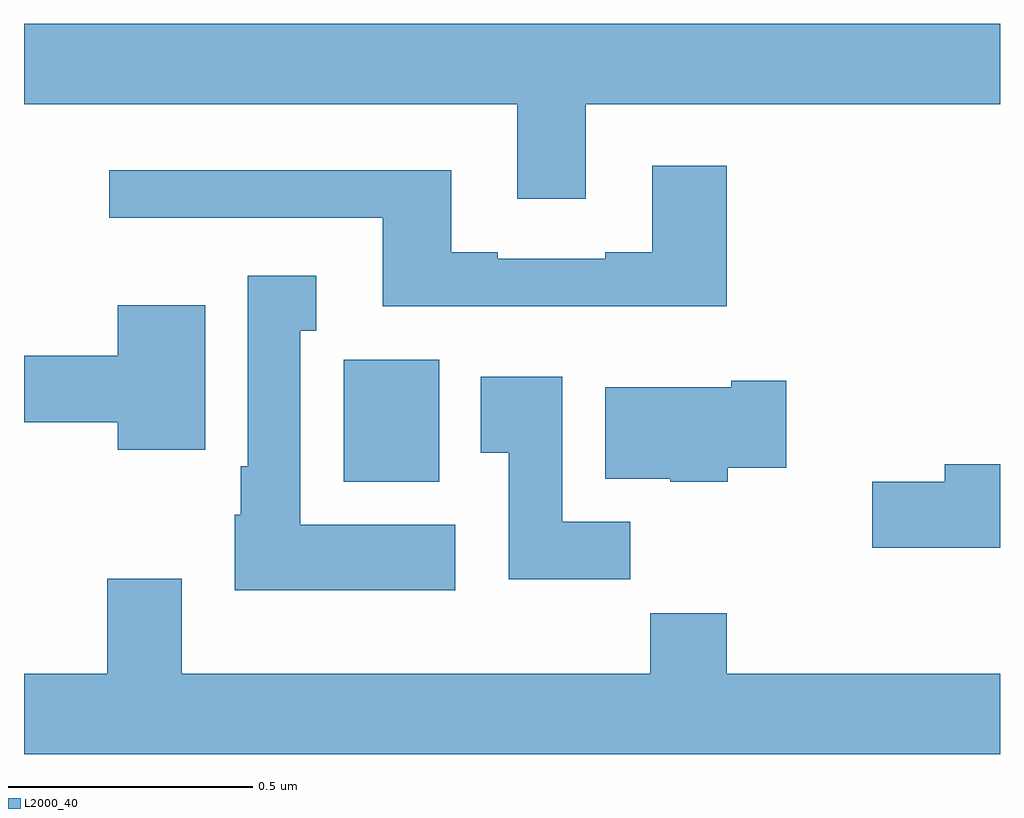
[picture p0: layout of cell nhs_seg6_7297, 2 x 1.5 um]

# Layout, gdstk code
import gdstk
lib = gdstk.Library(unit=1e-6, precision=1e-09)
def R(c, l, rs):  # rectangles x0, y0, x1, y1
    for r in rs: c.add(gdstk.rectangle(r[:2], r[2:], *l))
def P(c, l, *ps):  # polygons
    for p in ps: c.add(gdstk.Polygon(p, *l))
L2000_40 = (2000, 40)

nhs_seg6_7297 = lib.new_cell('nhs_seg6_7297')
R(nhs_seg6_7297, L2000_40, [(206.655,982.526,206.851,982.776)])
P(nhs_seg6_7297, L2000_40, [(207.151,983.3),(208,983.3),(208,983.464),(206,983.464),(206,983.3),(207.011,983.3),(207.011,983.106),(207.151,983.106)],
  [(207.44,983.173),(207.287,983.173),(207.287,982.996),(207.191,982.996),(207.191,982.983),(206.971,982.983),(206.971,982.996),(206.875,982.996),(206.875,983.164),(206.175,983.164),(206.175,983.067),(206.735,983.067),(206.735,982.886),(207.44,982.886)],
  [(206.884,982.438),(206.566,982.438),(206.566,982.835),(206.599,982.835),(206.599,982.948),(206.459,982.948),(206.459,982.558),(206.444,982.558),(206.444,982.458),(206.432,982.458),(206.432,982.304),(206.884,982.304)],
  [(206.371,982.888),(206.192,982.888),(206.192,982.784),(206,982.784),(206,982.648),(206.192,982.648),(206.192,982.592),(206.371,982.592)],
  [(207.242,982.444),(207.103,982.444),(207.103,982.741),(206.936,982.741),(206.936,982.585),(206.993,982.585),(206.993,982.326),(207.242,982.326)],
  [(207.442,982.555),(207.562,982.555),(207.562,982.733),(207.449,982.733),(207.449,982.72),(207.191,982.72),(207.191,982.532),(207.324,982.532),(207.324,982.526),(207.442,982.526)],
  [(208,982.562),(207.887,982.562),(207.887,982.526),(207.738,982.526),(207.738,982.391),(208,982.391)],
  [(208,982.132),(207.44,982.132),(207.44,982.256),(207.283,982.256),(207.283,982.132),(206.323,982.132),(206.323,982.327),(206.171,982.327),(206.171,982.132),(206,982.132),(206,981.968),(208,981.968)])

lib.write_gds('nhs_seg6_7297.gds')
